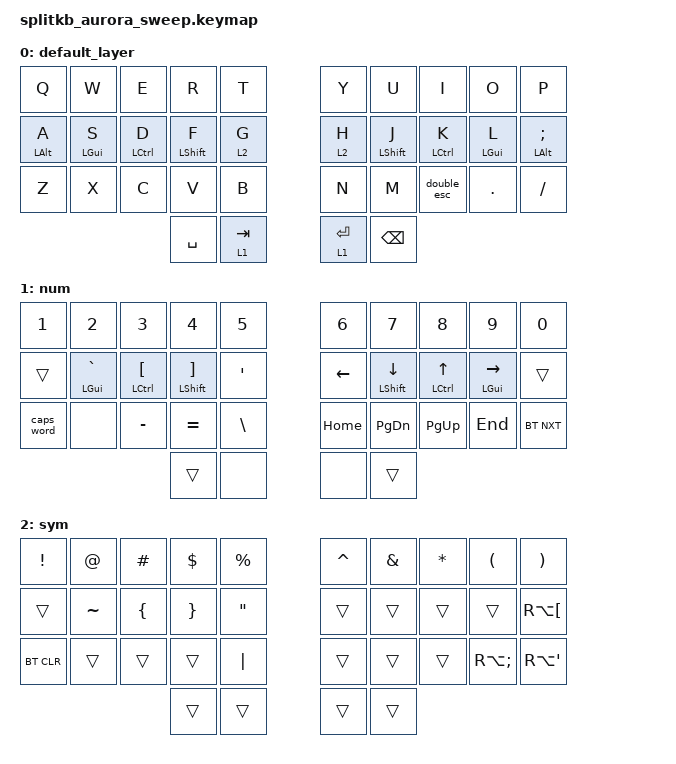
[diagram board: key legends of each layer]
/*
 * Copyright (c) 2022 The ZMK Contributors
 *
 * SPDX-License-Identifier: MIT
 */

#include <behaviors.dtsi>
#include <dt-bindings/zmk/bt.h>
#include <dt-bindings/zmk/keys.h>
#include <dt-bindings/zmk/outputs.h>

#define BASE    0
#define NUM     1
#define SYM     2
#define NAV     3
#define MOUSE   4

&mt {
    //  flavor = "tap-preferred";
    // tapping_term_ms = <200>;

    flavor = "balanced";
    quick-tap-ms = <200>;
};

/ {
    combos {
        compatible = "zmk,combos";

        Esc {
            bindings = <&kp ESCAPE>;
            key-positions = <30 31>;
        };

        esc2 {
            bindings = <&kp ESC>;
            key-positions = <33 32>;
        };

        dyra, {
            bindings = <&kp ESCAPE>;
            key-positions = <30 33>;
        };
    };

    behaviors {
        f1_2: f1_2 {
            compatible = "zmk,behavior-tap-dance";
            label = "F1_2";
            #binding-cells = <0>;
            bindings = <&kp F1>, <&kp F2>;
        };

        f3_4: f3_4 {
            compatible = "zmk,behavior-tap-dance";
            label = "F3_4";
            #binding-cells = <0>;
            bindings = <&kp F3>, <&kp F4>;
        };

        f5_6: f5_6 {
            compatible = "zmk,behavior-tap-dance";
            label = "F5_6";
            #binding-cells = <0>;
            bindings = <&kp F5>, <&kp F6>;
        };

        f7_8: f7_8 {
            compatible = "zmk,behavior-tap-dance";
            label = "F7_8";
            #binding-cells = <0>;
            bindings = <&kp F7>, <&kp F8>;
        };

        f9_10: f9_10 {
            compatible = "zmk,behavior-tap-dance";
            label = "F9_10";
            #binding-cells = <0>;
            bindings = <&kp F9>, <&kp F10>;
        };

        f11_12: f11_12 {
            compatible = "zmk,behavior-tap-dance";
            label = "F11_12";
            #binding-cells = <0>;
            bindings = <&kp F11>, <&kp F12>;
        };

        slow_mod: slow_mod {
            compatible = "zmk,behavior-hold-tap";
            label = "SLOW_MOD";
            bindings = <&kp>, <&kp>;

            #binding-cells = <2>;
            tapping-term-ms = <300>;
            flavor = "tap-preferred";
            quick-tap-ms = <200>;
        };

        long_hold_bt: long_hold_bt {
            compatible = "zmk,behavior-hold-tap";
            label = "LONG_HOLD_BT";
            bindings = <&bt>, <&bt>;

            #binding-cells = <2>;
            flavor = "tap-preferred";
            tapping-term-ms = <1000>;
        };

        long_hold_kp: long_hold_kp {
            compatible = "zmk,behavior-hold-tap";
            label = "LONG_HOLD_KP";
            bindings = <&kp>, <&kp>;

            #binding-cells = <2>;
            tapping-term-ms = <1000>;
            flavor = "tap-preferred";
        };

        bluetooth_tap: bluetooth_tap {
            compatible = "zmk,behavior-tap-dance";
            label = "BLUETOOTH_TAP";
            #binding-cells = <0>;
            bindings = <&bt BT_NXT>, <&out OUT_TOG>, <&bt BT_CLR>;

            tapping-term-ms = <500>;
        };

        double_esc: double_esc {
            compatible = "zmk,behavior-tap-dance";
            label = "DOUBLE_ESC";
            #binding-cells = <0>;
            bindings = <&kp COMMA>, <&kp ESCAPE>;
        };
    };

    macros {
        increase_window: increase_window {
            compatible = "zmk,behavior-macro";
            #binding-cells = <0>;
            bindings = <&kp LC(W) &kp GREATER_THAN>;
            label = "INCREASE_WINDOW";
        };

        decrese_window: decrese_window {
            compatible = "zmk,behavior-macro";
            #binding-cells = <0>;
            bindings = <&kp LC(W) &kp LESS_THAN>;
            label = "DECRESE_WINDOW";
        };
    };

    keymap {
        compatible = "zmk,keymap";

        default_layer {
            bindings = <
&kp Q                 &kp W                 &kp E        &kp R        &kp T      &kp Y    &kp U             &kp I        &kp O                 &kp P
&slow_mod LEFT_ALT A  &slow_mod LEFT_GUI S  &mt LCTRL D  &mt LSHFT F  &lt 2 G    &lt 2 H  &mt LEFT_SHIFT J  &mt LCTRL K  &slow_mod LEFT_GUI L  &slow_mod LEFT_ALT SEMICOLON
&kp Z                 &kp X                 &kp C        &kp V        &kp B      &kp N    &kp M             &double_esc  &kp PERIOD            &kp SLASH
&kp SPACE             &lt 1 TAB                                                                                          &lt 1 RET             &kp BACKSPACE
            >;
        };

        num {
            bindings = <
&kp NUMBER_1  &kp NUMBER_2        &kp NUMBER_3            &kp NUMBER_4                  &kp N5           &kp NUMBER_6  &kp N7               &kp N8              &kp N9              &kp N0
&trans        &mt LEFT_GUI GRAVE  &mt LCTRL LEFT_BRACKET  &mt LEFT_SHIFT RIGHT_BRACKET  &kp SQT          &kp LEFT      &mt LEFT_SHIFT DOWN  &mt LCTRL UP_ARROW  &mt LEFT_GUI RIGHT  &trans
&caps_word    &none               &kp MINUS               &kp EQUAL                     &kp BACKSLASH    &kp HOME      &kp PAGE_DOWN        &kp PAGE_UP         &kp END             &bt BT_NXT
&trans        &none                                                                                                                                             &none               &trans
            >;
        };

        sym {
            bindings = <
&kp EXCLAMATION  &kp AT_SIGN  &kp HASH        &kp DOLLAR       &kp PERCENT          &kp CARET  &kp AMPERSAND  &kp ASTERISK  &kp LEFT_PARENTHESIS  &kp RIGHT_PARENTHESIS
&trans           &kp TILDE    &kp LEFT_BRACE  &kp RIGHT_BRACE  &kp DOUBLE_QUOTES    &trans     &trans         &trans        &trans                &kp RA(LEFT_BRACKET)
&bt BT_CLR       &trans       &trans          &trans           &kp PIPE             &trans     &trans         &trans        &kp RA(SEMICOLON)     &kp RA(SQT)
&trans           &trans                                                                                                     &trans                &trans
            >;
        };
    };
};
